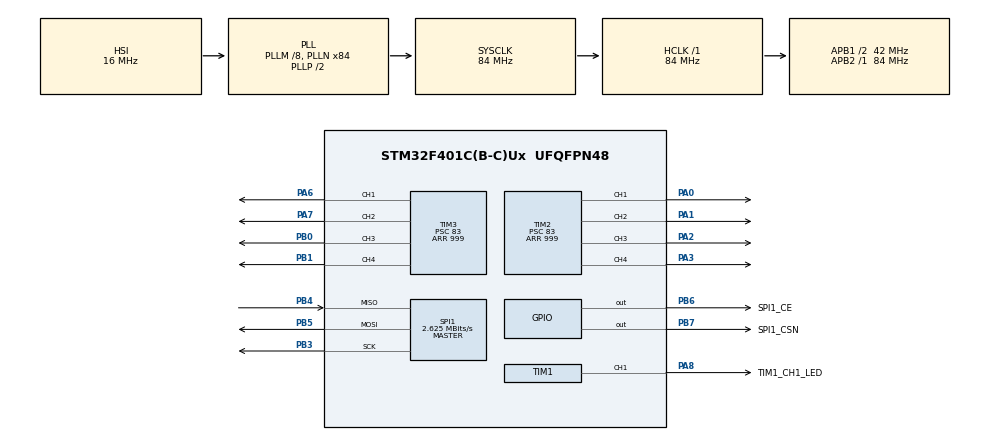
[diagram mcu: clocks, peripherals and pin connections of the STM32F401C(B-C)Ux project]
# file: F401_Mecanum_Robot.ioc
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Mcu.Family=STM32F4
RCC.CortexFreq_Value=84000000
SPI1.VirtualType=VM_MASTER
Dma.TIM1_CH1.0.MemDataAlignment=DMA_MDATAALIGN_HALFWORD
PB6.GPIO_Label=SPI1_CE
TIM2.Channel-PWM\ Generation2\ CH2=TIM_CHANNEL_2
TIM3.Channel-PWM\ Generation4\ CH4=TIM_CHANNEL_4
RCC.SYSCLKSource=RCC_SYSCLKSOURCE_PLLCLK
ProjectManager.StackSize=0x400
Dma.TIM1_CH1.0.MemInc=DMA_MINC_ENABLE
PH0\ -\ OSC_IN.Signal=RCC_OSC_IN
SPI1.Direction=SPI_DIRECTION_2LINES
RCC.HCLKFreq_Value=84000000
RCC.APB2TimFreq_Value=84000000
TIM3.Period=999
PB6.Signal=GPIO_Output
SPI1.CalculateBaudRate=2.625 MBits/s
RCC.AHBFreq_Value=84000000
TIM3.Channel-PWM\ Generation1\ CH1=TIM_CHANNEL_1
RCC.HSE_VALUE=25000000
PB3.Mode=Full_Duplex_Master
PB4.Mode=Full_Duplex_Master
TIM1.Channel-PWM\ Generation1\ CH1=TIM_CHANNEL_1
PA14.Mode=Serial_Wire
TIM3.Prescaler=83
PB5.Mode=Full_Duplex_Master
PB7.Signal=GPIO_Output
PA8.Signal=S_TIM1_CH1
TIM2.Channel-PWM\ Generation1\ CH1=TIM_CHANNEL_1
SH.S_TIM3_CH1.0=TIM3_CH1,PWM Generation1 CH1
VP_TIM1_VS_ClockSourceINT.Mode=Internal
PB7.GPIO_Label=SPI1_CSN
Mcu.Package=UFQFPN48
TIM2.Prescaler=83
PB1.Signal=S_TIM3_CH4
PA6.Signal=S_TIM3_CH1
RCC.APB1TimFreq_Value=84000000
TIM1.Period=104
Dma.Request0=TIM1_CH1
SPI1.BaudRatePrescaler=SPI_BAUDRATEPRESCALER_32
VP_TIM3_VS_ClockSourceINT.Mode=Internal
PB4.Signal=SPI1_MISO
PA3.Signal=S_TIM2_CH4
TIM2.Channel-PWM\ Generation4\ CH4=TIM_CHANNEL_4
PH1\ -\ OSC_OUT.Mode=HSE-External-Oscillator
Dma.TIM1_CH1.0.FIFOMode=DMA_FIFOMODE_DISABLE
NVIC.DMA2_Stream1_IRQn=true\:0\:0\:false\:false\:true\:false\:true
RCC.APB1CLKDivider=RCC_HCLK_DIV2
SH.S_TIM3_CH3.0=TIM3_CH3,PWM Generation3 CH3
Dma.TIM1_CH1.0.PeriphDataAlignment=DMA_PDATAALIGN_HALFWORD
Dma.TIM1_CH1.0.Priority=DMA_PRIORITY_LOW
PA0-WKUP.Signal=S_TIM2_CH1_ETR
Dma.TIM1_CH1.0.PeriphInc=DMA_PINC_DISABLE
PA13.Signal=SYS_JTMS-SWDIO
TIM1.AutoReloadPreload=TIM_AUTORELOAD_PRELOAD_ENABLE
TIM3.Channel-PWM\ Generation3\ CH3=TIM_CHANNEL_3
SH.S_TIM2_CH2.0=TIM2_CH2,PWM Generation2 CH2
PH0\ -\ OSC_IN.Mode=HSE-External-Oscillator
Dma.TIM1_CH1.0.Mode=DMA_NORMAL
PA8.GPIO_Label=TIM1_CH1_LED
SH.S_TIM1_CH1.0=TIM1_CH1,PWM Generation1 CH1
ProjectManager.TargetToolchain=STM32CubeIDE
RCC.LSE_VALUE=32768
PA1.Signal=S_TIM2_CH2
SH.S_TIM3_CH2.0=TIM3_CH2,PWM Generation2 CH2
PH1\ -\ OSC_OUT.Signal=RCC_OSC_OUT
board=custom
RCC.VCOOutputFreq_Value=168000000
RCC.APB2Freq_Value=84000000
VP_TIM2_VS_ClockSourceINT.Mode=Internal
SH.S_TIM2_CH3.0=TIM2_CH3,PWM Generation3 CH3
SPI1.Mode=SPI_MODE_MASTER
TIM2.Channel-PWM\ Generation3\ CH3=TIM_CHANNEL_3
TIM2.Period=999
PA13.Mode=Serial_Wire
Mcu.Name=STM32F401C(B-C)Ux
PA2.Signal=S_TIM2_CH3
Dma.TIM1_CH1.0.Direction=DMA_MEMORY_TO_PERIPH
RCC.48MHZClocksFreq_Value=42000000
PB3.Signal=SPI1_SCK
RCC.SYSCLKFreq_VALUE=84000000
PB5.Signal=SPI1_MOSI
Dma.TIM1_CH1.0.Instance=DMA2_Stream1
SH.S_TIM2_CH1_ETR.0=TIM2_CH1,PWM Generation1 CH1
PA14.Signal=SYS_JTCK-SWCLK
ProjectManager.HeapSize=0x200
SH.S_TIM2_CH4.0=TIM2_CH4,PWM Generation4 CH4
RCC.HSI_VALUE=16000000
NVIC.PriorityGroup=NVIC_PRIORITYGROUP_4
TIM3.Channel-PWM\ Generation2\ CH2=TIM_CHANNEL_2
RCC.PLLM=8
RCC.PLLN=84
RCC.APB1Freq_Value=42000000
PB0.Signal=S_TIM3_CH3
SH.S_TIM3_CH4.0=TIM3_CH4,PWM Generation4 CH4
PA7.Signal=S_TIM3_CH2

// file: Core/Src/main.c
/* USER CODE BEGIN Header */
/**
  ******************************************************************************
  * @file           : main.c
  * @brief          : Main program body
  ******************************************************************************
  * @attention
  *
  * <h2><center>&copy; Copyright (c) 2023 STMicroelectronics.
  * All rights reserved.</center></h2>
  *
  * This software component is licensed by ST under BSD 3-Clause license,
  * the "License"; You may not use this file except in compliance with the
  * License. You may obtain a copy of the License at:
  *                        opensource.org/licenses/BSD-3-Clause
  *
  ******************************************************************************
  */
/* USER CODE END Header */
#include "main.h"
#include "dma.h"
#include "spi.h"
#include "tim.h"
#include "gpio.h"

/* USER CODE BEGIN Includes */
#include "NRF24L01.h"
#include "math.h"
/* USER CODE END Includes */

/* USER CODE BEGIN PM */

	/* nRF24L01 Rxaddr FROM Transmitter */

		uint8_t Rxaddr[5] = {'S','T','E','S','S'};
		uint8_t RxData[8];
		uint32_t lastTime = 0;

	/* RGB */

		uint32_t last_time = 0;
		#define MAX_LED 25
		#define USE_BRIGHTNESS 0

		uint8_t LED_Data[MAX_LED][8];
		uint8_t LED_Mod[MAX_LED][8];  // for brightness
		uint16_t effStep = 0;
		uint32_t K[3] = {0, 4, 8};
		int GREEN[3] = {255, 0, 0};
		int BLUE[3] = {0, 255, 0};
		int RED[3] = {0, 0, 255};
		int L = 4, M = 8,z;
		int datasentflag=0;
		int RGB_Blue = 0;
		int RGB_Red = 255;
		int RGB_Green =0;
		int RGB_state = 0;
		int RGB_Brightness = 255;

	/* EQUATION AND SPEED */

		float W1, W2, W3, W4 ;
		float Vx, Vy, Omega;

/* USER CODE END PM */

void SystemClock_Config(void);
/* USER CODE BEGIN PFP */

	/* RGB */

		void HAL_TIM_PWM_PulseFinishedCallback(TIM_HandleTypeDef *htim)
		{
			HAL_TIM_PWM_Stop_DMA(&htim1, TIM_CHANNEL_1);
			datasentflag=1;
		}

		void Set_LED (int LEDnum, int Red, int Green, int Blue)
		{
			LED_Data[LEDnum][0] = LEDnum;
			LED_Data[LEDnum][1] = Green;
			LED_Data[LEDnum][2] = Red;
			LED_Data[LEDnum][3] = Blue;
		}

		#define PI 3.14159265

		void Set_Brightness (int brightness)  // 0-45
		{
		#if USE_BRIGHTNESS

			if (brightness > 45) brightness = 45;
			for (int i=0; i<MAX_LED; i++)
			{
				LED_Mod[i][0] = LED_Data[i][0];
				for (int j=1; j<4; j++)
				{
					float angle = 90-brightness;  // in degrees
					angle = angle*PI / 180;  // in rad
					LED_Mod[i][j] = (LED_Data[i][j])/(tan(angle));
				}
			}

		#endif

		}

		uint16_t pwmData[(24*MAX_LED)+50];

		void WS2812_Send (void)
		{
			uint32_t indx=0;
			uint32_t color;

			for (int i= 0; i<MAX_LED; i++)
			{
		#if USE_BRIGHTNESS
				color = ((LED_Mod[i][1]<<16) | (LED_Mod[i][2]<<8) | (LED_Mod[i][3]));
		#else
				color = ((LED_Data[i][1]<<16) | (LED_Data[i][2]<<8) | (LED_Data[i][3]));
		#endif

				for (int i=23; i>=0; i--)
				{
					if (color&(1<<i))
					{
						pwmData[indx] = 70;  // 2/3 of 105/70
					}

					else pwmData[indx] = 35;  // 1/3 of 105/37

					indx++;
				}

			}

			for (int i=0; i<50; i++)
			{
				pwmData[indx] = 0;
				indx++;
			}

			HAL_TIM_PWM_Start_DMA(&htim1, TIM_CHANNEL_1, (uint32_t *)pwmData, indx);
			while (!datasentflag){};
			datasentflag = 0;
		}

		void Reset_LED (void)
		{
			for (int i=0; i<MAX_LED; i++)
			{
				LED_Data[i][0] = i;
				LED_Data[i][1] = 0;
				LED_Data[i][2] = 0;
				LED_Data[i][3] = 0;
			}
		}

		double map(double x, double in_min, double in_max, double out_min, double out_max) {
		  return (x - in_min) * (out_max - out_min) / (in_max - in_min) + out_min;
		}

	/* RESET DATE nRF24L01 */

		void reset_data(void){
		  RxData[0] = 128;//x1
		  RxData[1] = 128;//y1
		  RxData[2] = 128;//x2
		  RxData[3] = 128; //y2
		  RxData[4] = 128; //y2
		  RxData[5] = 128; //y2
		  RxData[6] = 0; //y2
		  RxData[7] = 0; //y2
		}

	/* RGB SPEED  */

		void RGB_Speed(){
			  if(HAL_GetTick() - last_time >= map(RxData[0],0,255,20,250)){
				last_time = HAL_GetTick();

				for(int i = 0;i<=2; i++){
					K[i]++;
					if(K[i] == 12){
						K[i]=0;
						Set_LED(K[i], RED[i], GREEN[i], BLUE[i]);
						Set_Brightness(0);
						Set_LED(11, 0, 0, 0);

						WS2812_Send();
					}
					if(K[i]>=1 && K[i]<=11){
						Set_LED(K[i],RED[i], GREEN[i], BLUE[i]);
						Set_LED(K[i]-1, 0, 0, 0);
						WS2812_Send();
					}
				}

			  }
		}

/* USER CODE END PFP */

int main(void)
{

  /* MCU Configuration--------------------------------------------------------*/

  /* Reset of all peripherals, Initializes the Flash interface and the Systick. */
   HAL_Init();

  /* Configure the system clock */
  SystemClock_Config();

  /* Initialize all configured peripherals */
  MX_GPIO_Init();
  MX_DMA_Init();
  MX_TIM1_Init();
  MX_SPI1_Init();
  MX_TIM2_Init();
  MX_TIM3_Init();
  /* USER CODE BEGIN 2 */

	 /* RGB */

		  Reset_LED();

	 /* nRF24L01 MODE */

			NRF24_Init();
			NRF24_RxMode(Rxaddr, 112, 8);//NRF24_TxMode(Address, channel, payload_size)
			RxData[0] = 128;//x1
			RxData[1] = 128;//y1
			RxData[2] = 128;//x2
			RxData[3] = 128; //y2
			RxData[4] = 128; //y2
			RxData[5] = 128; //y2
			RxData[6] = 0; //y2
			RxData[7] = 0; //y2

	  /* MIMER MOTOR */

		  HAL_TIM_PWM_Start(&htim2, TIM_CHANNEL_1);
		  HAL_TIM_PWM_Start(&htim2, TIM_CHANNEL_2);
		  HAL_TIM_PWM_Start(&htim2, TIM_CHANNEL_3);
		  HAL_TIM_PWM_Start(&htim2, TIM_CHANNEL_4);

		  HAL_TIM_PWM_Start(&htim3, TIM_CHANNEL_1);
		  HAL_TIM_PWM_Start(&htim3, TIM_CHANNEL_2);
		  HAL_TIM_PWM_Start(&htim3, TIM_CHANNEL_3);
		  HAL_TIM_PWM_Start(&htim3, TIM_CHANNEL_4);

  /* USER CODE END 2 */

  /* Infinite loop */
  /* USER CODE BEGIN WHILE */
  while (1)
  {
	  	  /* nRF24L01 DATA */

			  if(DataReady(1)>0){
					NRF24_Receive(RxData, 8);
					lastTime = HAL_GetTick();
			  	  }
				  if((HAL_GetTick() - lastTime > 10)){
					reset_data();

				  }
		   /* MAPING FROM JOYSTIKE REMOTE */

				  Vx 	= map(RxData[0],0 , 256, 999, -999);
				  Vy 	= map(RxData[1],0 , 256, 999, -999);
				  Omega = map(RxData[2],0 , 256, 999, -999);

		   /* EQUATION MECANUM WHEELS */

				  W1 = -Vx - Vy + 0.9*Omega;
				  W2 = -Vx + Vy - 0.9*Omega;
				  W3 = -Vx + Vy + 0.9*Omega;
				  W4 = -Vx - Vy - 0.9*Omega;

		   /* MAP SPEED MOTOR */

				  if(W1 < -999)  W1 = -999;
				  if(W1 >  999)  W1 =  999;

				  if(W2 < -999)  W2 = -999;
				  if(W2 >  999)  W2 =  999;

				  if(W3 < -999)  W3 = -999;
				  if(W3 >  999)  W3 =  999;

				  if(W4 < -999)  W4 = -999;
				  if(W4 >  999)  W4 =  999;

			/* MOTOR 1 */

				  /* FORWARD */

					  if(W1 > 0 && W1 <= 999){
						  __HAL_TIM_SET_COMPARE(&htim2, TIM_CHANNEL_1, W1);
						  __HAL_TIM_SET_COMPARE(&htim2, TIM_CHANNEL_2, 0);
					  }

				  /* STOP */

					  if(W1 == 0){
						  __HAL_TIM_SET_COMPARE(&htim2, TIM_CHANNEL_1, 0);
						  __HAL_TIM_SET_COMPARE(&htim2, TIM_CHANNEL_2, 0);
					  }

				  /* BACKWARD */

					  if(W1 < 0 && W1 >= -999){
						  __HAL_TIM_SET_COMPARE(&htim2, TIM_CHANNEL_1, 0);
						  __HAL_TIM_SET_COMPARE(&htim2, TIM_CHANNEL_2, (-1)*W1);
					  }

			/* MOTOR 2 */

				  /* FORWARD */

					  if(W2> 0 && W2<= 999){
						  __HAL_TIM_SET_COMPARE(&htim2, TIM_CHANNEL_3, 0);
						  __HAL_TIM_SET_COMPARE(&htim2, TIM_CHANNEL_4, W2);
					  }

				  /* STOP */

					  if(W2 == 0){
						  __HAL_TIM_SET_COMPARE(&htim2, TIM_CHANNEL_3, 0);
						  __HAL_TIM_SET_COMPARE(&htim2, TIM_CHANNEL_4, 0);
					  }

				  /* BACKWARD */

					  if(W2 < 0 && W2 >= -999){
						  __HAL_TIM_SET_COMPARE(&htim2, TIM_CHANNEL_3, (-1)*W2);
						  __HAL_TIM_SET_COMPARE(&htim2, TIM_CHANNEL_4, 0);
					  }

			/* MOTOR 3 */

				  /* FORWARD */

					  if(W3> 0 && W3<= 999){
						  __HAL_TIM_SET_COMPARE(&htim3, TIM_CHANNEL_1, W3);
						  __HAL_TIM_SET_COMPARE(&htim3, TIM_CHANNEL_2, 0);
					  }

				  /* STOP */

					  if(W3 == 0){
						  __HAL_TIM_SET_COMPARE(&htim3, TIM_CHANNEL_1, 0);
						  __HAL_TIM_SET_COMPARE(&htim3, TIM_CHANNEL_2, 0);
					  }

				  /* BACKWARD */

					  if(W3 < 0 && W3 >= -999){
						  __HAL_TIM_SET_COMPARE(&htim3, TIM_CHANNEL_1, 0);
						  __HAL_TIM_SET_COMPARE(&htim3, TIM_CHANNEL_2, (-1)*W3);
					  }

			 /* MOTOR 4 */

				  /* FORWARD */

					  if(W4> 0 && W4<= 999){
						  __HAL_TIM_SET_COMPARE(&htim3, TIM_CHANNEL_3, W4);
						  __HAL_TIM_SET_COMPARE(&htim3, TIM_CHANNEL_4, 0);
					  }

				  /* STOP */

					  if(W4 == 0){
						  __HAL_TIM_SET_COMPARE(&htim3, TIM_CHANNEL_3, 0);
						  __HAL_TIM_SET_COMPARE(&htim3, TIM_CHANNEL_4, 0);
					  }

				  /* BACKWARD */

					  if(W4 < 0 && W4 >= -999){
						  __HAL_TIM_SET_COMPARE(&htim3, TIM_CHANNEL_3, 0);
						  __HAL_TIM_SET_COMPARE(&htim3, TIM_CHANNEL_4, (-1)*W4);
					  }

		    /* RGB */

			  if(HAL_GetTick() - last_time >= 30 ){
				last_time = HAL_GetTick();

				if (RGB_state == 0){
					RGB_Red = RGB_Brightness;
					RGB_Green ++;
					RGB_Blue = 0;
					if(RGB_Green >= RGB_Brightness){
						RGB_state = 1;
					}
				}
				else if (RGB_state == 1){
					RGB_Red --;
					RGB_Green = RGB_Brightness;
					RGB_Blue = 0;
					if(RGB_Red <= 0){
						RGB_state = 2;
					}
				}
				else if (RGB_state == 2){
					RGB_Red = 0;
					RGB_Green = RGB_Brightness;
					RGB_Blue ++;
					if(RGB_Blue >= RGB_Brightness){
						RGB_state = 3;
					}
				}
				else if (RGB_state == 3){
					RGB_Red = 0;
					RGB_Green --;
					RGB_Blue = RGB_Brightness;
					if(RGB_Green <= 0){
						RGB_state = 4;
					}
				}
				else if (RGB_state == 4){
					RGB_Red ++;
					RGB_Green = 0;
					RGB_Blue = RGB_Brightness;
					if(RGB_Red >= RGB_Brightness){
						RGB_state = 5;
					}	  	}
				else if (RGB_state == 5){
					RGB_Red = RGB_Brightness;
					RGB_Green = 0;
					RGB_Blue --;
					if(RGB_Blue <= 0){
						RGB_state = 0;
					}	  	}

				else{

				}

		/* RGB */

			  }
				Set_LED(0,   RGB_Red, RGB_Green, RGB_Blue);
				Set_LED(1,   RGB_Red, RGB_Green, RGB_Blue);
				Set_LED(2,   RGB_Red, RGB_Green, RGB_Blue);
				Set_LED(3,   RGB_Red, RGB_Green, RGB_Blue);
				Set_LED(4,   RGB_Red, RGB_Green, RGB_Blue);
				Set_LED(5,   RGB_Red, RGB_Green, RGB_Blue);
				Set_LED(6,   RGB_Red, RGB_Green, RGB_Blue);
				Set_LED(7,   RGB_Red, RGB_Green, RGB_Blue);
				Set_LED(8,   RGB_Red, RGB_Green, RGB_Blue);
				Set_LED(9,   RGB_Red, RGB_Green, RGB_Blue);
				Set_LED(10,  RGB_Red, RGB_Green, RGB_Blue);
				Set_LED(11,  RGB_Red, RGB_Green, RGB_Blue);
				Set_LED(12,  RGB_Red, RGB_Green, RGB_Blue);
				Set_LED(13,  RGB_Red, RGB_Green, RGB_Blue);
				Set_LED(14,  RGB_Red, RGB_Green, RGB_Blue);
				Set_LED(15,  RGB_Red, RGB_Green, RGB_Blue);
				Set_LED(16,  RGB_Red, RGB_Green, RGB_Blue);
				Set_LED(17,  RGB_Red, RGB_Green, RGB_Blue);
				Set_LED(18,  RGB_Red, RGB_Green, RGB_Blue);
				Set_LED(20,  RGB_Red, RGB_Green, RGB_Blue);
				Set_LED(21,  RGB_Red, RGB_Green, RGB_Blue);
				Set_LED(22,  RGB_Red, RGB_Green, RGB_Blue);
				Set_LED(23,  RGB_Red, RGB_Green, RGB_Blue);
				Set_LED(25,  RGB_Red, RGB_Green, RGB_Blue);

				WS2812_Send();

    /* USER CODE END WHILE */

  }
}

void SystemClock_Config(void)
{
  RCC_OscInitTypeDef RCC_OscInitStruct = {0};
  RCC_ClkInitTypeDef RCC_ClkInitStruct = {0};

  /** Configure the main internal regulator output voltage
  */
  __HAL_RCC_PWR_CLK_ENABLE();
  __HAL_PWR_VOLTAGESCALING_CONFIG(PWR_REGULATOR_VOLTAGE_SCALE2);
  /** Initializes the RCC Oscillators according to the specified parameters
  * in the RCC_OscInitTypeDef structure.
  */
  RCC_OscInitStruct.OscillatorType = RCC_OSCILLATORTYPE_HSI;
  RCC_OscInitStruct.HSIState = RCC_HSI_ON;
  RCC_OscInitStruct.HSICalibrationValue = RCC_HSICALIBRATION_DEFAULT;
  RCC_OscInitStruct.PLL.PLLState = RCC_PLL_ON;
  RCC_OscInitStruct.PLL.PLLSource = RCC_PLLSOURCE_HSI;
  RCC_OscInitStruct.PLL.PLLM = 8;
  RCC_OscInitStruct.PLL.PLLN = 84;
  RCC_OscInitStruct.PLL.PLLP = RCC_PLLP_DIV2;
  RCC_OscInitStruct.PLL.PLLQ = 4;
  if (HAL_RCC_OscConfig(&RCC_OscInitStruct) != HAL_OK)
  {
    Error_Handler();
  }
  /** Initializes the CPU, AHB and APB buses clocks
  */
  RCC_ClkInitStruct.ClockType = RCC_CLOCKTYPE_HCLK|RCC_CLOCKTYPE_SYSCLK
                              |RCC_CLOCKTYPE_PCLK1|RCC_CLOCKTYPE_PCLK2;
  RCC_ClkInitStruct.SYSCLKSource = RCC_SYSCLKSOURCE_PLLCLK;
  RCC_ClkInitStruct.AHBCLKDivider = RCC_SYSCLK_DIV1;
  RCC_ClkInitStruct.APB1CLKDivider = RCC_HCLK_DIV2;
  RCC_ClkInitStruct.APB2CLKDivider = RCC_HCLK_DIV1;

  if (HAL_RCC_ClockConfig(&RCC_ClkInitStruct, FLASH_LATENCY_2) != HAL_OK)
  {
    Error_Handler();
  }
}

void Error_Handler(void)
{
  __disable_irq();
  while (1)
  {
  }
}

/************************ (C) COPYRIGHT STMicroelectronics *****END OF FILE****/
